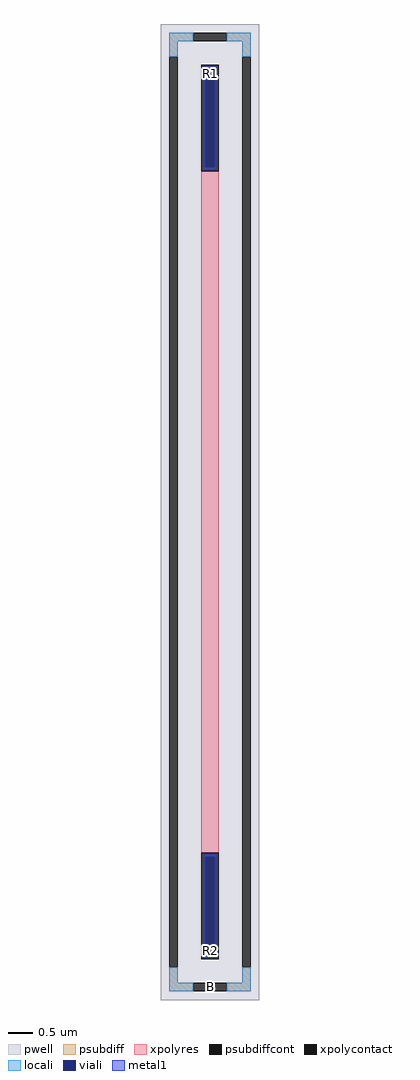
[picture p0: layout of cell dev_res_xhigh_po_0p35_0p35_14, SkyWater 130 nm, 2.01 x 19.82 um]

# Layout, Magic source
magic
tech sky130A
magscale 1 2
<< pwell >>
rect -201 -1982 201 1982
<< psubdiff >>
rect -165 1912 -69 1946
rect 69 1912 165 1946
rect -165 1850 -131 1912
rect 131 1850 165 1912
rect -165 -1912 -131 -1850
rect 131 -1912 165 -1850
rect -165 -1946 -69 -1912
rect 69 -1946 165 -1912
<< psubdiffcont >>
rect -69 1912 69 1946
rect -165 -1850 -131 1850
rect 131 -1850 165 1850
rect -69 -1946 69 -1912
<< xpolycontact >>
rect -35 1384 35 1816
rect -35 -1816 35 -1384
<< xpolyres >>
rect -35 -1384 35 1384
<< locali >>
rect -165 1912 -69 1946
rect 69 1912 165 1946
rect -165 1850 -131 1912
rect 131 1850 165 1912
rect -165 -1912 -131 -1850
rect 131 -1912 165 -1850
rect -165 -1946 -69 -1912
rect 69 -1946 165 -1912
<< viali >>
rect -19 1401 19 1798
rect -19 -1798 19 -1401
<< metal1 >>
rect -25 1798 25 1810
rect -25 1401 -19 1798
rect 19 1401 25 1798
rect -25 1389 25 1401
rect -25 -1401 25 -1389
rect -25 -1798 -19 -1401
rect 19 -1798 25 -1401
rect -25 -1810 25 -1798
<< labels >>
rlabel psubdiffcont 0 -1929 0 -1929 0 B
port 1 nsew
rlabel xpolycontact 0 1781 0 1781 0 R1
port 2 nsew
rlabel xpolycontact 0 -1781 0 -1781 0 R2
port 3 nsew
<< properties >>
string FIXED_BBOX -148 -1929 148 1929
string MASKHINTS_URPM -127 -1856 127 1856
<< end >>
